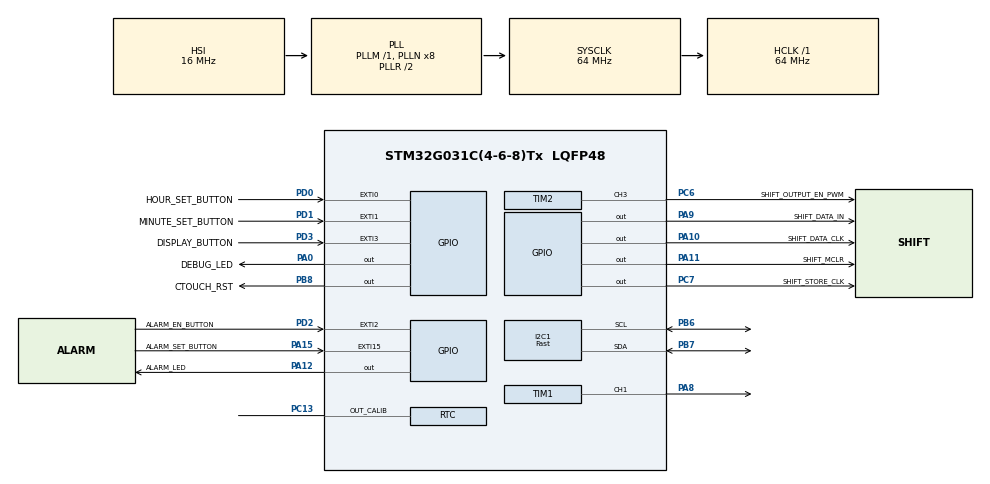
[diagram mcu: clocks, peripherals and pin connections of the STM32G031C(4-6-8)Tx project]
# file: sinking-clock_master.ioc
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I2C1.CustomTiming=Disabled
I2C1.I2C_Speed_Mode=I2C_Fast
I2C1.Timing=0x00602173
Mcu.Family=STM32G0
Mcu.Name=STM32G031C(4-6-8)Tx
Mcu.Package=LQFP48
NVIC.EXTI0_1_IRQn=true\:1\:0\:true\:false\:true\:true\:true\:true
NVIC.EXTI2_3_IRQn=true\:1\:0\:true\:false\:true\:true\:true\:true
NVIC.EXTI4_15_IRQn=true\:2\:0\:true\:false\:true\:true\:true\:true
NVIC.RCC_IRQn=true\:1\:0\:true\:false\:true\:true\:false\:true
NVIC.RTC_TAMP_IRQn=true\:1\:0\:true\:false\:true\:true\:true\:true
NVIC.TIM16_IRQn=true\:1\:0\:true\:false\:true\:true\:true\:true
NVIC.TIM17_IRQn=true\:0\:0\:false\:false\:true\:true\:true\:true
PA0.GPIO_Label=DEBUG_LED
PA0.Signal=GPIO_Output
PA10.GPIO_Label=SHIFT_DATA_CLK
PA10.Signal=GPIO_Output
PA11\ [PA9].GPIO_Label=SHIFT_MCLR
PA11\ [PA9].Signal=GPIO_Output
PA12\ [PA10].GPIO_Label=ALARM_LED
PA12\ [PA10].Signal=GPIO_Output
PA13.Mode=Serial_Wire
PA13.Signal=SYS_SWDIO
PA14-BOOT0.Mode=Serial_Wire
PA14-BOOT0.Signal=SYS_SWCLK
PA15.GPIO_Label=ALARM_SET_BUTTON
PA15.GPIO_ModeDefaultEXTI=GPIO_MODE_IT_FALLING
PA15.GPIO_PuPd=GPIO_PULLUP
PA15.Signal=GPXTI15
PA2.Mode=Clock-out-LSCO
PA2.Signal=RCC_LSCO
PA8.Signal=S_TIM1_CH1
PA9.GPIO_Label=SHIFT_DATA_IN
PA9.Signal=GPIO_Output
PB6.Mode=I2C
PB6.Signal=I2C1_SCL
PB7.Mode=I2C
PB7.Signal=I2C1_SDA
PB8.GPIO_Label=CTOUCH_RST
PB8.Signal=GPIO_Output
PC13.Mode=Calibration_512Hz
PC13.Signal=RTC_OUT_CALIB
PC14-OSC32_IN\ (PC14).Mode=LSE-External-Oscillator
PC14-OSC32_IN\ (PC14).Signal=RCC_OSC32_IN
PC15-OSC32_OUT\ (PC15).Mode=LSE-External-Oscillator
PC15-OSC32_OUT\ (PC15).Signal=RCC_OSC32_OUT
PC6.GPIO_Label=SHIFT_OUTPUT_EN_PWM
PC6.Signal=S_TIM2_CH3
PC7.GPIO_Label=SHIFT_STORE_CLK
PC7.Signal=GPIO_Output
PD0.GPIO_Label=HOUR_SET_BUTTON
PD0.GPIO_ModeDefaultEXTI=GPIO_MODE_IT_FALLING
PD0.GPIO_PuPd=GPIO_PULLUP
PD0.Signal=GPXTI0
PD1.GPIO_Label=MINUTE_SET_BUTTON
PD1.GPIO_ModeDefaultEXTI=GPIO_MODE_IT_FALLING
PD1.GPIO_PuPd=GPIO_PULLUP
PD1.Signal=GPXTI1
PD2.GPIO_Label=ALARM_EN_BUTTON
PD2.GPIO_ModeDefaultEXTI=GPIO_MODE_IT_FALLING
PD2.GPIO_PuPd=GPIO_PULLUP
PD2.Signal=GPXTI2
PD3.GPIO_Label=DISPLAY_BUTTON
PD3.GPIO_ModeDefaultEXTI=GPIO_MODE_IT_FALLING
PD3.GPIO_PuPd=GPIO_PULLUP
PD3.Signal=GPXTI3
ProjectManager.HeapSize=0x200
ProjectManager.StackSize=0x400
ProjectManager.TargetToolchain=STM32CubeIDE
RCC.ADCFreq_Value=64000000
RCC.AHBFreq_Value=64000000
RCC.CortexFreq_Value=64000000
RCC.EXTERNAL_CLOCK_VALUE=12288000
RCC.HCLKFreq_Value=64000000
RCC.HSE_VALUE=8000000
RCC.HSI_VALUE=16000000
RCC.LSE_Drive_Capability=RCC_LSEDRIVE_MEDIUMLOW
RCC.RTCClockSelection=RCC_RTCCLKSOURCE_LSE
RCC.SYSCLKFreq_VALUE=64000000
RCC.SYSCLKSource=RCC_SYSCLKSOURCE_PLLCLK
RCC.VCOOutputFreq_Value=128000000
RTC.Alarm-Alarm\ A=RTC_ALARM_A
RTC.AlarmMaskDateWeekDay-Alarm\ A=RTC_ALARMMASK_DATEWEEKDAY
RTC.AlarmMaskHours-Alarm\ A=RTC_ALARMMASK_HOURS
RTC.AlarmMaskSeconds-Alarm\ A=RTC_ALARMMASK_SECONDS
RTC.HourFormat=RTC_HOURFORMAT_12
RTC.Hours_A-Alarm\ A=1
RTC.Minutes_A-Alarm\ A=1
SH.S_TIM1_CH1.0=TIM1_CH1,PWM Generation1 CH1
SH.S_TIM2_CH3.0=TIM2_CH3,PWM Generation3 CH3
TIM1.Channel-PWM\ Generation1\ CH1=TIM_CHANNEL_1
TIM1.Period=100-1
TIM1.Prescaler=40000-1
TIM14.Prescaler=244*4
TIM16.Prescaler=(58595 / 10) - 1
TIM16.RepetitionCounter=0
TIM17.Period=100-1
TIM17.Prescaler=21
TIM2.Channel-PWM\ Generation3\ CH3=TIM_CHANNEL_3
TIM2.Period=100-1
TIM2.Prescaler=800-1
VP_RTC_VS_RTC_Activate.Mode=RTC_Enabled
VP_RTC_VS_RTC_Alarm_A_Intern.Mode=Alarm A
VP_RTC_VS_RTC_Calendar.Mode=RTC_Calendar
VP_TIM14_VS_ClockSourceINT.Mode=Enable_Timer
VP_TIM16_VS_ClockSourceINT.Mode=Enable_Timer
VP_TIM17_VS_ClockSourceINT.Mode=Enable_Timer
board=custom

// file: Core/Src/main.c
/* USER CODE BEGIN Header */
/**
  ******************************************************************************
  * @file           : main.c
  * @brief          : Main program body
  ******************************************************************************
  * @attention
  *
  * Copyright (c) 2024 STMicroelectronics.
  * All rights reserved.
  *
  * This software is licensed under terms that can be found in the LICENSE file
  * in the root directory of this software component.
  * If no LICENSE file comes with this software, it is provided AS-IS.
  *
  ******************************************************************************
  */
/* USER CODE END Header */
#include "main.h"

/* USER CODE BEGIN Includes */

#ifndef SEVSEG_SHIFT_H_
#include "sevSeg_shift.h"
#endif

#ifndef ALARM_H_
#include "alarm.h"
#endif

#ifndef SINKINGCLOCKVARS_H_
#include "sinkingClockVars.h"
#endif

#ifndef AT42QT1070_H_
#include "AT42QT1070.h"
#endif

/* USER CODE END Includes */

I2C_HandleTypeDef hi2c1;

RTC_HandleTypeDef hrtc;

TIM_HandleTypeDef htim1;
TIM_HandleTypeDef htim2;
TIM_HandleTypeDef htim14;
TIM_HandleTypeDef htim16;
TIM_HandleTypeDef htim17;

/* USER CODE BEGIN PV */

/*
 * Timer to be used for PWMing display
 */
TIM_HandleTypeDef *timerPWM = &htim2;

/*
 * Timer to be used for non-blocking delays
 */
TIM_HandleTypeDef *timerDelay = &htim14;

/*
 * Timer to be used for long 10-minute snooze
 */
TIM_HandleTypeDef *timerSnooze = &htim16;

/*
 * Timer to be used to software-PWM alarm LED
 */
TIM_HandleTypeDef *timerAlarmLED_PWM = &htim17;

/*
 * Timer to be used for Buzzer PWM
 */
TIM_HandleTypeDef *timerBuzzer = &htim1;

/*
 * Counts up to timerSnooze_RCR for long snooze delay
 */
uint8_t snoozeCounter = 0;

/*
 * Keeps track of alarm LED software PWM count
 * 0-100
 */
uint8_t alarmLED_PWM_Counter = 0;

/*
 * State bools
 */

// Used to blare alarm if enabled
bool alarmSetMode = false;

/*
 * Used to indicate whether the clock is in a
 * state to sound a snoozed alarm again after 10 minutes.
 * false = regular operation, true = 10-minute snooze period
 */
bool secondSnooze = false;

/*
 * Cap. touch struct
 */
QT1070 capTouch;

/*
 * For PWMing alarm Enable LED
 */
uint8_t threshold = sevSeg_intensityDuty[2];

/* USER CODE END PV */

void SystemClock_Config(void);
static void MX_GPIO_Init(void);
static void MX_RTC_Init(void);
static void MX_I2C1_Init(void);
static void MX_TIM14_Init(void);
static void MX_TIM2_Init(void);
static void MX_TIM16_Init(void);
static void MX_TIM1_Init(void);
static void MX_TIM17_Init(void);
/* USER CODE BEGIN PFP */

/*
 * Call to fetch the current time from the RTC and send to the LED display.
 *
 * @param none
 *
 * @ret HAL status object
 */
HAL_StatusTypeDef updateAndDisplayTime(void);

/*
 * Call to fetch the current alarm from the RTC and send to the LED display.
 *
 * @param none
 *
 * @ret HAL status object
 */
HAL_StatusTypeDef updateAndDisplayAlarm(void);

/*
 * Called on interrupt from display button to toggle 7-segment intensity.
 *
 * @param none
 *
 * @ret HAL status object
 */
HAL_StatusTypeDef displayButtonISR(void);

/*
 * Called on interrupt from alarm enable button to toggle user alarm.
 *
 * @param none
 *
 * @ret HAL status object
 */
HAL_StatusTypeDef alarmEnableISR(void);

/*
 * Called on interrupt from alarm set button to enter alarm set loop.
 *
 * @param none
 *
 * @ret HAL status object
 */
HAL_StatusTypeDef alarmSetISR(void);

/*
 * Called on interrupt from hour and minute set buttons.
 * Contain logic to set user alarm hour or minute.
 *
 * @param none
 *
 * @ret HAL status object
 */
HAL_StatusTypeDef hourSetISR(void);
HAL_StatusTypeDef minuteSetISR(void);

/*
 * Hour and minute incrementing functions for alarm time and current time
 *
 */

void alarmHourInc(void);
void currHourInc(void);
void alarmMinuteInc(void);
void currMinuteInc(void);

/*
 * Enters loop to signal user alarm
 */
void userAlarmBeep(void);

/*
 * Displays non-critical error on debug LED and continues functionality
 */
void dispFault();

/*
 * Displays Critical Error on clock and halts all functionality
 */
void dispFailure();

/*
 * Updates RTC Backup Registers with user alarm time
 */
void updateRTCBackupReg(void);

/* USER CODE END PFP */

int main(void)
{

  /* MCU Configuration--------------------------------------------------------*/

  /* Reset of all peripherals, Initializes the Flash interface and the Systick. */
  HAL_Init();

  /* Configure the system clock */
  SystemClock_Config();

  /* Initialize all configured peripherals */
  MX_GPIO_Init();
  MX_RTC_Init();
  MX_I2C1_Init();
  MX_TIM14_Init();
  MX_TIM2_Init();
  MX_TIM16_Init();
  MX_TIM1_Init();
  MX_TIM17_Init();
  /* USER CODE BEGIN 2 */

  // HAL Status handle for error-checking
  HAL_StatusTypeDef halRet = HAL_OK;

  // Start alarm LED software PWM
  HAL_TIM_Base_Start_IT(timerAlarmLED_PWM);

  // Set Smooth Calibration Value
  halRet = HAL_RTCEx_SetSmoothCalib(&hrtc, RTC_SMOOTHCALIB_PERIOD_8SEC,
    							RTC_SMOOTHCALIB_PLUSPULSES_RESET, rtcCalVal);
  if(halRet != HAL_OK) {
	  // Failure to talk to RTC is a hard failure
	  dispFailure();
  }

  // Init the internal RTC alarm time to track the current time
  halRet = initRTCInternalAlarm(&hrtc, &currTime, &currDate);
  if(halRet != HAL_OK) {
  	  // Failure to initialize RTC alarm is a hard failure
  	  dispFailure();
    }

  // Initialize all GPIOs to be used with 7 segment display
    sevSeg_Init(shiftDataPin, shiftDataClockPin, shiftStoreClockPin,
				shiftOutputEnablePin, shiftMCLRPin,
				GPIOPortArray, timerDelay, timerPWM, tim_PWM_CHANNEL);

    // Set to max brightness
    sevSeg_setIntensity(sevSeg_intensityDuty[2]);

	halRet = updateAndDisplayTime();
	if(halRet != HAL_OK) {
	  // Failure to display current time is a hard failure
	  dispFailure();
	}

    /*
     * Initialize capacitive touch sensor
     */

	// Used to separate return initializations into critical and non-critical errors.
	uint8_t initRet = 0;

    initRet = capTouch_Init(&capTouch, &hi2c1, timerDelay,
    						&capTouchResetPort, capTouchResetPin, capTouchChannels);
    if( (initRet == 1) || (initRet == 3) || (initRet == 4)) {

    	/* Critical Errors:
    	 * 1 = Failure to read correct device ID
    	 * 2 = Failure to read Keys
    	 * 3 = Failure to enable keys
    	 */
    	dispFailure();
    }
    else if (initRet == 2) {
    	/*
    	 * Non-critical Errors:
    	 * 2 = Failure to Recalibrate
    	 */
    	dispFault();
    }
    else if(initRet == 0) {
    	// initRet = 0 = all is well
    	__NOP();
    }

    // Set averaging factor
    uint8_t avgFactors_New[7] = {AVGFact, AVGFact, AVGFact, AVGFact, 0, 0, 0};
    halRet = capTouch_SetAveragingFactor(&capTouch, avgFactors_New);

    if(halRet != HAL_OK) {
    	// This is sensitivity-setting and a non-critical error
    	dispFault();
    }

    // Set detection integration factors
    uint8_t detIntFactors_New[7] = {DIFact, DIFact, DIFact, DIFact, DIFact, DIFact, DIFact};
    halRet = capTouch_SetDetectionIntegrator(&capTouch, detIntFactors_New);
    if(halRet != HAL_OK) {
    	// This is sensitivity-setting and a non-critical error
		dispFault();
    }

    userAlarmToggle = false;			//Default to off

    /*
     * If the bootstrap backup register reads 0x00 (never written to,)
     * initialize the alarm time to a default value.
     *
     * Else, initialize to whatever is stored in backup registers.
     */

    if((uint8_t)HAL_RTCEx_BKUPRead(&hrtc, bootstrapBackupReg) == 0) {

    	HAL_RTCEx_BKUPWrite(&hrtc, userAlarmHourBackupReg, 0x01);
    	HAL_RTCEx_BKUPWrite(&hrtc, userAlarmMinuteBackupReg, 0x00);
    	HAL_RTCEx_BKUPWrite(&hrtc, userAlarmTFBackupReg, RTC_HOURFORMAT12_AM);

    	// Write backup register with a non-zero value to signify that it has been initialized before
    	HAL_RTCEx_BKUPWrite(&hrtc, bootstrapBackupReg, 0xFFFFFFFF);

    }

	userAlarmTime.Hours = (uint8_t)HAL_RTCEx_BKUPRead(&hrtc, userAlarmHourBackupReg);
	userAlarmTime.Minutes = (uint8_t)HAL_RTCEx_BKUPRead(&hrtc, userAlarmMinuteBackupReg);
	userAlarmTime.TimeFormat = (uint8_t)HAL_RTCEx_BKUPRead(&hrtc, userAlarmTFBackupReg);

  /* USER CODE END 2 */

  /* Infinite loop */
  while (1)
  {
  }

}

void SystemClock_Config(void)
{
  RCC_OscInitTypeDef RCC_OscInitStruct = {0};
  RCC_ClkInitTypeDef RCC_ClkInitStruct = {0};

  /** Configure the main internal regulator output voltage
  */
  HAL_PWREx_ControlVoltageScaling(PWR_REGULATOR_VOLTAGE_SCALE1);

  /** Configure LSE Drive Capability
  */
  HAL_PWR_EnableBkUpAccess();
  __HAL_RCC_LSEDRIVE_CONFIG(RCC_LSEDRIVE_MEDIUMLOW);

  /** Initializes the RCC Oscillators according to the specified parameters
  * in the RCC_OscInitTypeDef structure.
  */
  RCC_OscInitStruct.OscillatorType = RCC_OSCILLATORTYPE_HSI|RCC_OSCILLATORTYPE_LSI
                              |RCC_OSCILLATORTYPE_LSE;
  RCC_OscInitStruct.LSEState = RCC_LSE_ON;
  RCC_OscInitStruct.HSIState = RCC_HSI_ON;
  RCC_OscInitStruct.HSIDiv = RCC_HSI_DIV1;
  RCC_OscInitStruct.HSICalibrationValue = RCC_HSICALIBRATION_DEFAULT;
  RCC_OscInitStruct.LSIState = RCC_LSI_ON;
  RCC_OscInitStruct.PLL.PLLState = RCC_PLL_ON;
  RCC_OscInitStruct.PLL.PLLSource = RCC_PLLSOURCE_HSI;
  RCC_OscInitStruct.PLL.PLLM = RCC_PLLM_DIV1;
  RCC_OscInitStruct.PLL.PLLN = 8;
  RCC_OscInitStruct.PLL.PLLP = RCC_PLLP_DIV2;
  RCC_OscInitStruct.PLL.PLLQ = RCC_PLLQ_DIV2;
  RCC_OscInitStruct.PLL.PLLR = RCC_PLLR_DIV2;
  if (HAL_RCC_OscConfig(&RCC_OscInitStruct) != HAL_OK)
  {
    Error_Handler();
  }

  /** Initializes the CPU, AHB and APB buses clocks
  */
  RCC_ClkInitStruct.ClockType = RCC_CLOCKTYPE_HCLK|RCC_CLOCKTYPE_SYSCLK
                              |RCC_CLOCKTYPE_PCLK1;
  RCC_ClkInitStruct.SYSCLKSource = RCC_SYSCLKSOURCE_PLLCLK;
  RCC_ClkInitStruct.AHBCLKDivider = RCC_SYSCLK_DIV1;
  RCC_ClkInitStruct.APB1CLKDivider = RCC_HCLK_DIV1;

  if (HAL_RCC_ClockConfig(&RCC_ClkInitStruct, FLASH_LATENCY_2) != HAL_OK)
  {
    Error_Handler();
  }
  HAL_RCCEx_EnableLSCO(RCC_LSCOSOURCE_LSI);
}

static void MX_I2C1_Init(void)
{

  hi2c1.Instance = I2C1;
  hi2c1.Init.Timing = 0x00602173;
  hi2c1.Init.OwnAddress1 = 0;
  hi2c1.Init.AddressingMode = I2C_ADDRESSINGMODE_7BIT;
  hi2c1.Init.DualAddressMode = I2C_DUALADDRESS_DISABLE;
  hi2c1.Init.OwnAddress2 = 0;
  hi2c1.Init.OwnAddress2Masks = I2C_OA2_NOMASK;
  hi2c1.Init.GeneralCallMode = I2C_GENERALCALL_DISABLE;
  hi2c1.Init.NoStretchMode = I2C_NOSTRETCH_DISABLE;
  if (HAL_I2C_Init(&hi2c1) != HAL_OK)
  {
    Error_Handler();
  }

  /** Configure Analogue filter
  */
  if (HAL_I2CEx_ConfigAnalogFilter(&hi2c1, I2C_ANALOGFILTER_ENABLE) != HAL_OK)
  {
    Error_Handler();
  }

  /** Configure Digital filter
  */
  if (HAL_I2CEx_ConfigDigitalFilter(&hi2c1, 0) != HAL_OK)
  {
    Error_Handler();
  }

}

static void MX_RTC_Init(void)
{

//  RTC_TimeTypeDef sTime = {0};
  RTC_DateTypeDef sDate = {0};
  RTC_AlarmTypeDef sAlarm = {0};

  /** Initialize RTC Only
  */
  hrtc.Instance = RTC;
  hrtc.Init.HourFormat = RTC_HOURFORMAT_12;
  hrtc.Init.AsynchPrediv = 127;
  hrtc.Init.SynchPrediv = 255;
  hrtc.Init.OutPut = RTC_OUTPUT_DISABLE;
  hrtc.Init.OutPutRemap = RTC_OUTPUT_REMAP_NONE;
  hrtc.Init.OutPutPolarity = RTC_OUTPUT_POLARITY_HIGH;
  hrtc.Init.OutPutType = RTC_OUTPUT_TYPE_OPENDRAIN;
  hrtc.Init.OutPutPullUp = RTC_OUTPUT_PULLUP_NONE;
  if (HAL_RTC_Init(&hrtc) != HAL_OK)
  {
    Error_Handler();
  }

  /** Initialize RTC and set the Time and Date
  */
//  sTime.Hours = 0x1;
//  sTime.Minutes = 0x0;
//  sTime.Seconds = 0x0;
//  sTime.SubSeconds = 0x0;
//  sTime.TimeFormat = RTC_HOURFORMAT12_AM;
//  sTime.DayLightSaving = RTC_DAYLIGHTSAVING_NONE;
//  sTime.StoreOperation = RTC_STOREOPERATION_RESET;
//  if (HAL_RTC_SetTime(&hrtc, &sTime, RTC_FORMAT_BCD) != HAL_OK)
//  {
//    Error_Handler();
//  }
  sDate.WeekDay = RTC_WEEKDAY_MONDAY;
  sDate.Month = RTC_MONTH_JANUARY;
  sDate.Date = 0x1;
  sDate.Year = 0x0;

  if (HAL_RTC_SetDate(&hrtc, &sDate, RTC_FORMAT_BCD) != HAL_OK)
  {
    Error_Handler();
  }

  /** Enable the Alarm A
  */
  sAlarm.AlarmTime.Hours = 0x1;
  sAlarm.AlarmTime.Minutes = 0x1;
  sAlarm.AlarmTime.Seconds = 0x0;
  sAlarm.AlarmTime.SubSeconds = 0x0;
  sAlarm.AlarmTime.TimeFormat = RTC_HOURFORMAT12_AM;
  sAlarm.AlarmTime.DayLightSaving = RTC_DAYLIGHTSAVING_NONE;
  sAlarm.AlarmTime.StoreOperation = RTC_STOREOPERATION_RESET;
  sAlarm.AlarmMask = RTC_ALARMMASK_DATEWEEKDAY|RTC_ALARMMASK_HOURS
                              |RTC_ALARMMASK_SECONDS;
  sAlarm.AlarmSubSecondMask = RTC_ALARMSUBSECONDMASK_ALL;
  sAlarm.AlarmDateWeekDaySel = RTC_ALARMDATEWEEKDAYSEL_DATE;
  sAlarm.AlarmDateWeekDay = 0x1;
  sAlarm.Alarm = RTC_ALARM_A;
  if (HAL_RTC_SetAlarm_IT(&hrtc, &sAlarm, RTC_FORMAT_BCD) != HAL_OK)
  {
    Error_Handler();
  }

  /** Enable Calibration
  */
  if (HAL_RTCEx_SetCalibrationOutPut(&hrtc, RTC_CALIBOUTPUT_512HZ) != HAL_OK)
  {
    Error_Handler();
  }
  /* USER CODE BEGIN RTC_Init 2 */

  // Do not initialize time - pull from whatever is in register
    HAL_RTC_GetTime(&hrtc, &currTime, RTCTimeFormat);

  /* USER CODE END RTC_Init 2 */

}

static void MX_TIM1_Init(void)
{

  TIM_MasterConfigTypeDef sMasterConfig = {0};
  TIM_OC_InitTypeDef sConfigOC = {0};
  TIM_BreakDeadTimeConfigTypeDef sBreakDeadTimeConfig = {0};

  htim1.Instance = TIM1;
  htim1.Init.Prescaler = 40000-1;
  htim1.Init.CounterMode = TIM_COUNTERMODE_UP;
  htim1.Init.Period = 100-1;
  htim1.Init.ClockDivision = TIM_CLOCKDIVISION_DIV1;
  htim1.Init.RepetitionCounter = 0;
  htim1.Init.AutoReloadPreload = TIM_AUTORELOAD_PRELOAD_DISABLE;
  if (HAL_TIM_PWM_Init(&htim1) != HAL_OK)
  {
    Error_Handler();
  }
  sMasterConfig.MasterOutputTrigger = TIM_TRGO_RESET;
  sMasterConfig.MasterOutputTrigger2 = TIM_TRGO2_RESET;
  sMasterConfig.MasterSlaveMode = TIM_MASTERSLAVEMODE_DISABLE;
  if (HAL_TIMEx_MasterConfigSynchronization(&htim1, &sMasterConfig) != HAL_OK)
  {
    Error_Handler();
  }
  sConfigOC.OCMode = TIM_OCMODE_PWM1;
  sConfigOC.Pulse = 0;
  sConfigOC.OCPolarity = TIM_OCPOLARITY_HIGH;
  sConfigOC.OCNPolarity = TIM_OCNPOLARITY_HIGH;
  sConfigOC.OCFastMode = TIM_OCFAST_DISABLE;
  sConfigOC.OCIdleState = TIM_OCIDLESTATE_RESET;
  sConfigOC.OCNIdleState = TIM_OCNIDLESTATE_RESET;
  if (HAL_TIM_PWM_ConfigChannel(&htim1, &sConfigOC, TIM_CHANNEL_1) != HAL_OK)
  {
    Error_Handler();
  }
  sBreakDeadTimeConfig.OffStateRunMode = TIM_OSSR_DISABLE;
  sBreakDeadTimeConfig.OffStateIDLEMode = TIM_OSSI_DISABLE;
  sBreakDeadTimeConfig.LockLevel = TIM_LOCKLEVEL_OFF;
  sBreakDeadTimeConfig.DeadTime = 0;
  sBreakDeadTimeConfig.BreakState = TIM_BREAK_DISABLE;
  sBreakDeadTimeConfig.BreakPolarity = TIM_BREAKPOLARITY_HIGH;
  sBreakDeadTimeConfig.BreakFilter = 0;
  sBreakDeadTimeConfig.BreakAFMode = TIM_BREAK_AFMODE_INPUT;
  sBreakDeadTimeConfig.Break2State = TIM_BREAK2_DISABLE;
  sBreakDeadTimeConfig.Break2Polarity = TIM_BREAK2POLARITY_HIGH;
  sBreakDeadTimeConfig.Break2Filter = 0;
  sBreakDeadTimeConfig.Break2AFMode = TIM_BREAK_AFMODE_INPUT;
  sBreakDeadTimeConfig.AutomaticOutput = TIM_AUTOMATICOUTPUT_DISABLE;
  if (HAL_TIMEx_ConfigBreakDeadTime(&htim1, &sBreakDeadTimeConfig) != HAL_OK)
  {
    Error_Handler();
  }
  HAL_TIM_MspPostInit(&htim1);

}

static void MX_TIM2_Init(void)
{

  TIM_MasterConfigTypeDef sMasterConfig = {0};
  TIM_OC_InitTypeDef sConfigOC = {0};

  htim2.Instance = TIM2;
  htim2.Init.Prescaler = 800-1;
  htim2.Init.CounterMode = TIM_COUNTERMODE_UP;
  htim2.Init.Period = 100-1;
  htim2.Init.ClockDivision = TIM_CLOCKDIVISION_DIV1;
  htim2.Init.AutoReloadPreload = TIM_AUTORELOAD_PRELOAD_DISABLE;
  if (HAL_TIM_PWM_Init(&htim2) != HAL_OK)
  {
    Error_Handler();
  }
  sMasterConfig.MasterOutputTrigger = TIM_TRGO_RESET;
  sMasterConfig.MasterSlaveMode = TIM_MASTERSLAVEMODE_DISABLE;
  if (HAL_TIMEx_MasterConfigSynchronization(&htim2, &sMasterConfig) != HAL_OK)
  {
    Error_Handler();
  }
  sConfigOC.OCMode = TIM_OCMODE_PWM1;
  sConfigOC.Pulse = 0;
  sConfigOC.OCPolarity = TIM_OCPOLARITY_HIGH;
  sConfigOC.OCFastMode = TIM_OCFAST_DISABLE;
  if (HAL_TIM_PWM_ConfigChannel(&htim2, &sConfigOC, TIM_CHANNEL_3) != HAL_OK)
  {
    Error_Handler();
  }
  HAL_TIM_MspPostInit(&htim2);

}

static void MX_TIM14_Init(void)
{

  htim14.Instance = TIM14;
  htim14.Init.Prescaler = 244*4;
  htim14.Init.CounterMode = TIM_COUNTERMODE_UP;
  htim14.Init.Period = 65535;
  htim14.Init.ClockDivision = TIM_CLOCKDIVISION_DIV1;
  htim14.Init.AutoReloadPreload = TIM_AUTORELOAD_PRELOAD_DISABLE;
  if (HAL_TIM_Base_Init(&htim14) != HAL_OK)
  {
    Error_Handler();
  }

}

static void MX_TIM16_Init(void)
{

  htim16.Instance = TIM16;
  htim16.Init.Prescaler = (58595 / 10) - 1;
  htim16.Init.CounterMode = TIM_COUNTERMODE_UP;
  htim16.Init.Period = 65535;
  htim16.Init.ClockDivision = TIM_CLOCKDIVISION_DIV1;
  htim16.Init.RepetitionCounter = 0;
  htim16.Init.AutoReloadPreload = TIM_AUTORELOAD_PRELOAD_DISABLE;
  if (HAL_TIM_Base_Init(&htim16) != HAL_OK)
  {
    Error_Handler();
  }
  /* USER CODE BEGIN TIM16_Init 2 */

  // Decrease interrupt priority
  HAL_NVIC_SetPriority(TIM16_IRQn, 1, 0);
  HAL_NVIC_EnableIRQ(TIM16_IRQn);

  // Clear SR interrupts
  __HAL_TIM_CLEAR_IT(timerSnooze, TIM_IT_UPDATE);
//
//  // Re-write RCR with 10
//	timerSnooze->Instance->RCR &= 0xFF00;
//	timerSnooze->Instance->RCR |= timerSnooze_RCR;

  /* USER CODE END TIM16_Init 2 */

}

static void MX_TIM17_Init(void)
{

  htim17.Instance = TIM17;
  htim17.Init.Prescaler = 21;
  htim17.Init.CounterMode = TIM_COUNTERMODE_UP;
  htim17.Init.Period = 100-1;
  htim17.Init.ClockDivision = TIM_CLOCKDIVISION_DIV1;
  htim17.Init.RepetitionCounter = 0;
  htim17.Init.AutoReloadPreload = TIM_AUTORELOAD_PRELOAD_DISABLE;
  if (HAL_TIM_Base_Init(&htim17) != HAL_OK)
  {
    Error_Handler();
  }

}

static void MX_GPIO_Init(void)
{
  GPIO_InitTypeDef GPIO_InitStruct = {0};

  /* GPIO Ports Clock Enable */
  __HAL_RCC_GPIOC_CLK_ENABLE();
  __HAL_RCC_GPIOA_CLK_ENABLE();
  __HAL_RCC_GPIOD_CLK_ENABLE();
  __HAL_RCC_GPIOB_CLK_ENABLE();

  /*Configure GPIO pin Output Level */
  HAL_GPIO_WritePin(GPIOA, DEBUG_LED_Pin|SHIFT_DATA_IN_Pin|SHIFT_DATA_CLK_Pin|SHIFT_MCLR_Pin
                          |ALARM_LED_Pin, GPIO_PIN_RESET);

  /*Configure GPIO pin Output Level */
  HAL_GPIO_WritePin(SHIFT_STORE_CLK_GPIO_Port, SHIFT_STORE_CLK_Pin, GPIO_PIN_RESET);

  /*Configure GPIO pin Output Level */
  HAL_GPIO_WritePin(CTOUCH_RST_GPIO_Port, CTOUCH_RST_Pin, GPIO_PIN_RESET);

  /*Configure GPIO pins : DEBUG_LED_Pin SHIFT_DATA_IN_Pin SHIFT_DATA_CLK_Pin SHIFT_MCLR_Pin
                           ALARM_LED_Pin */
  GPIO_InitStruct.Pin = DEBUG_LED_Pin|SHIFT_DATA_IN_Pin|SHIFT_DATA_CLK_Pin|SHIFT_MCLR_Pin
                          |ALARM_LED_Pin;
  GPIO_InitStruct.Mode = GPIO_MODE_OUTPUT_PP;
  GPIO_InitStruct.Pull = GPIO_NOPULL;
  GPIO_InitStruct.Speed = GPIO_SPEED_FREQ_LOW;
  HAL_GPIO_Init(GPIOA, &GPIO_InitStruct);

  /*Configure GPIO pin : PA2 */
  GPIO_InitStruct.Pin = GPIO_PIN_2;
  GPIO_InitStruct.Mode = GPIO_MODE_ANALOG;
  GPIO_InitStruct.Pull = GPIO_NOPULL;
  HAL_GPIO_Init(GPIOA, &GPIO_InitStruct);

  /*Configure GPIO pin : SHIFT_STORE_CLK_Pin */
  GPIO_InitStruct.Pin = SHIFT_STORE_CLK_Pin;
  GPIO_InitStruct.Mode = GPIO_MODE_OUTPUT_PP;
  GPIO_InitStruct.Pull = GPIO_NOPULL;
  GPIO_InitStruct.Speed = GPIO_SPEED_FREQ_LOW;
  HAL_GPIO_Init(SHIFT_STORE_CLK_GPIO_Port, &GPIO_InitStruct);

  /*Configure GPIO pin : ALARM_SET_BUTTON_Pin */
  GPIO_InitStruct.Pin = ALARM_SET_BUTTON_Pin;
  GPIO_InitStruct.Mode = GPIO_MODE_IT_FALLING;
  GPIO_InitStruct.Pull = GPIO_PULLUP;
  HAL_GPIO_Init(ALARM_SET_BUTTON_GPIO_Port, &GPIO_InitStruct);

  /*Configure GPIO pins : HOUR_SET_BUTTON_Pin MINUTE_SET_BUTTON_Pin ALARM_EN_BUTTON_Pin DISPLAY_BUTTON_Pin */
  GPIO_InitStruct.Pin = HOUR_SET_BUTTON_Pin|MINUTE_SET_BUTTON_Pin|ALARM_EN_BUTTON_Pin|DISPLAY_BUTTON_Pin;
  GPIO_InitStruct.Mode = GPIO_MODE_IT_FALLING;
  GPIO_InitStruct.Pull = GPIO_PULLUP;
  HAL_GPIO_Init(GPIOD, &GPIO_InitStruct);

  /*Configure GPIO pin : CTOUCH_RST_Pin */
  GPIO_InitStruct.Pin = CTOUCH_RST_Pin;
  GPIO_InitStruct.Mode = GPIO_MODE_OUTPUT_PP;
  GPIO_InitStruct.Pull = GPIO_NOPULL;
  GPIO_InitStruct.Speed = GPIO_SPEED_FREQ_LOW;
  HAL_GPIO_Init(CTOUCH_RST_GPIO_Port, &GPIO_InitStruct);

  /* EXTI interrupt init*/
  HAL_NVIC_SetPriority(EXTI0_1_IRQn, 1, 0);
  HAL_NVIC_EnableIRQ(EXTI0_1_IRQn);

  HAL_NVIC_SetPriority(EXTI2_3_IRQn, 1, 0);
  HAL_NVIC_EnableIRQ(EXTI2_3_IRQn);

  HAL_NVIC_SetPriority(EXTI4_15_IRQn, 2, 0);
  HAL_NVIC_EnableIRQ(EXTI4_15_IRQn);

}

/* USER CODE BEGIN 4 */

/*
 * Pulls updated time from RTC and send new time to user display
 */
HAL_StatusTypeDef updateAndDisplayTime(void) {

	HAL_StatusTypeDef halRet = HAL_OK;

	getRTCTime(&hrtc, &currTime, &currDate);
	sevSeg_updateDigits(&currTime);

	return halRet;

}

/*
 * Sends current user alarm time to user display
 * This doesn't pull from the RTC because the RTC alarm is not being used for that
 */

HAL_StatusTypeDef updateAndDisplayAlarm(void) {

	HAL_StatusTypeDef halRet = HAL_OK;

	sevSeg_updateDigits(&userAlarmTime);

	return halRet;

}

/*
 * Interrupt callback function for RTC interrupt kickback
 * Occurs every minute increment
 *
 * Pulls alarm time from RTC, increments and sets new alarm time, and updates time.
 * Sets off user alarm if the alarm is enabled.
 */
void HAL_RTC_AlarmAEventCallback(RTC_HandleTypeDef *hrtc) {

	  RTC_AlarmTypeDef sAlarm = {0};
	  HAL_RTC_GetAlarm(hrtc, &sAlarm, internalAlarm, RTCTimeFormat);

	  getRTCTime(hrtc, &currTime, &currDate);

	  if(currTime.Minutes > 58) {
		sAlarm.AlarmTime.Minutes = 0;
	  } else {
		sAlarm.AlarmTime.Minutes = currTime.Minutes + 1;
	  }
		while(HAL_RTC_SetAlarm_IT(hrtc, &sAlarm, FORMAT_BIN)!=HAL_OK){

			__NOP();

		}

	  updateAndDisplayTime();

	  // If alarm is enabled and current time matches user alarm time, set off the alarm.
	  if(userAlarmToggle && userAlarmTime.Hours == currTime.Hours
			  && userAlarmTime.Minutes == currTime.Minutes && userAlarmTime.TimeFormat == currTime.TimeFormat) {
		  userAlarmBeep();
	  }

}

/*
 * If user alarm is enabled and the RTC time equals the user alarm time, this function is entered.
 *
 * This function blinks the display LEDs and toggles the beeper until the user
 * disables this beeping through cap. touch or the alarm enable button.
 *
 * Functionality depends on whether or not this is the first or second snooze.
 * 		First Snooze: 10-minute timer is started and alarm
 * 		              is beeped again at the end of this 10 minutes.
 * 		Second Snooze: No timer is started and silencing the alarm silences it for good.
 */
void userAlarmBeep() {

	if (secondSnooze) { 		//If the user has already snoozed once,

			// Stop the timer and
			HAL_TIM_Base_Stop_IT(timerSnooze);

			// Reset count to 0
			// only bits 0 - 15 should be changed.
			timerSnooze->Instance->CNT &= 0xFFFF0000;

			// Reset interrupt status register
			timerSnooze->Instance->SR &= 0xFFFC;

//			// Re-write RCR with 10
//			timerSnooze->Instance->RCR &= 0xFF00;
//			timerSnooze->Instance->RCR |= timerSnooze_RCR;

		}

	HAL_TIM_Base_Stop(timerDelay);
	HAL_TIM_Base_Start(timerDelay);						// Begin timer 16 counting (to 500 ms)
	uint32_t timerVal = __HAL_TIM_GET_COUNTER(timerDelay);	// Get initial timer value to compare to
	bool displayBlink = false;

	/*
	 * Determine whether to toggle high or low brightness
	 */
	uint8_t intenSet;
	if(displayToggle == 0) { 				// If the user has full brightness enabled, toggle full brightness
		intenSet = 2;
	}
	else {									// Else, toggle low brightness
		intenSet = 1;
	}

	do {						// Beep buzzer and blink display until snooze button is pressed

		updateAndDisplayTime();				// Update to current time and display

		if(__HAL_TIM_GET_COUNTER(timerDelay) - timerVal >= (65535 / 2)) {		// Use hardware timer to blink/beep display

			sevSeg_setIntensity(sevSeg_intensityDuty[displayBlink * intenSet]);	// Toggle on/off

			if(!displayBlink) {
				__HAL_TIM_SET_COMPARE(timerBuzzer, tim_BUZZER_CHANNEL, 50);
				HAL_TIM_PWM_Start(timerBuzzer, tim_BUZZER_CHANNEL);
			}
			else {
				HAL_TIM_PWM_Stop(timerBuzzer, tim_BUZZER_CHANNEL);
			}

			timerVal = __HAL_TIM_GET_COUNTER(timerDelay);				// Update timer value

			displayBlink = !displayBlink;							// Toggle display blink counter

		}

		capTouch_readChannels(&capTouch);

	} while(capTouch.keyStat == 0x00 &&
			(HAL_GPIO_ReadPin(alarmEnableButtonPort, alarmEnableButtonPin) != GPIO_PIN_RESET));

	/*
	 * Stop blinking, turn off buzzer, set 50% duty cycle, update time
	 */
	HAL_TIM_Base_Stop(timerDelay);

	HAL_TIM_PWM_Stop(timerBuzzer, tim_BUZZER_CHANNEL);

	updateAndDisplayTime();				// Update to current time and display

	sevSeg_setIntensity(sevSeg_intensityDuty[intenSet]);	// Turn display back on
	if(intenSet == 2) {
		displayToggle = 0;
	}
	else {
		displayToggle = 2;
	}

	// If this is the first snooze,
	if(!secondSnooze) {

		HAL_TIM_PWM_Stop(timerBuzzer, tim_BUZZER_CHANNEL);

		// Start the snooze timer to trigger an interrupt after 10 minutes
		HAL_TIM_Base_Start_IT(timerSnooze);

		// Set flag
		secondSnooze = true;

	} else {

		snoozeCounter = 0;

		// Reset flag
		/*
		 * This must be done here because if it's done
		 * in the top conditional, the secondSnooze is always true;
		 */
		secondSnooze = false;

	}

}

/*
 * General Falling-Edge EXTI Callback function
 *
 * Internal conditional determines which function to call
 * based on which button was pressed.
 */
void HAL_GPIO_EXTI_Falling_Callback(uint16_t GPIO_Pin) {

	HAL_StatusTypeDef halRet;					// Flag for printing interrupt status

	if(GPIO_Pin == displayButtonPin) {
		halRet = displayButtonISR();
		if (halRet != HAL_OK) {
			//printf("Error toggling display.\n\r");
		} else {
			//printf("Display intensity toggled.\n\r");
		}
	}
	else if(GPIO_Pin == alarmEnableButtonPin) {
		halRet = alarmEnableISR();
		if (halRet != HAL_OK) {
			//printf("Error toggling user alarm.\n\r");
		} else {
			//printf("User alarm toggled.\n\r");
		}
	}
	else if(GPIO_Pin == alarmSetButtonPin) {
		halRet = alarmSetISR();
		if (halRet != HAL_OK) {
			//printf("Error setting user alarm.\n\r");
		} else {
			//printf("User alarm set.\n\r");
		}
	}
	else if(GPIO_Pin == hourSetButtonPin) {
		halRet = hourSetISR();
		if (halRet != HAL_OK) {
			//printf("Error incrementing hour.\n\r");
		} else {
			//printf("Hour increment ISR success.\n\r");
		}
	}
	else if(GPIO_Pin == minuteSetButtonPin) {
		halRet = minuteSetISR();
		if (halRet != HAL_OK) {
			//printf("Error incrementing minute.\n\r");
		} else {
			//printf("Minute increment ISR success.\n\r");
		}
	}
	else {			//Code should never reach here, but do nothing if it does.
		__NOP();
	}

}

/*
 * Used for second snooze functionality
 *
 * This is entered at the end of a 10-minute snooze, at
 * which point the timer kicks back an interrupt.
 */
void HAL_TIM_PeriodElapsedCallback(TIM_HandleTypeDef *htim) {

	if(htim == timerSnooze) {

		snoozeCounter++;

		if((secondSnooze == true) && (snoozeCounter == timerSnooze_RCR)) {
			userAlarmBeep();
		}

	}
	else if(htim == timerAlarmLED_PWM) {

		alarmLED_PWM_Counter++;
		if(alarmLED_PWM_Counter == 100)
		{
			alarmLED_PWM_Counter = 0;
		}

		if(!userAlarmToggle) {	// If user alarm not enabled, turn off LED
			HAL_GPIO_WritePin(alarmLEDPort, alarmLEDPin, GPIO_PIN_RESET);
		}
		else {					// If the user alarm is enabled, PWM it

			if(alarmLED_PWM_Counter >= threshold) {
				HAL_GPIO_WritePin(alarmLEDPort, alarmLEDPin, GPIO_PIN_SET);
			}
			else {
				HAL_GPIO_WritePin(alarmLEDPort, alarmLEDPin, GPIO_PIN_RESET);
			}

		}

	}

}

/*
 * Toggles through user time display brightness settings
 */
HAL_StatusTypeDef displayButtonISR(void) {

	//printf("Entered display toggle ISR\n\r");
	HAL_StatusTypeDef halRet = HAL_OK;

	updateAndDisplayTime();

	sevSeg_setIntensity(sevSeg_intensityDuty[displayToggle]);		//Turn display to proper duty cycle

	if(displayToggle >= 2) {			// Increment display toggle or reset back down to 0;
		displayToggle = 0;
	} else {
		displayToggle++;
	}

	// For alarm enable LED
	switch(displayToggle) {

		case 0:			// Full brightness
			threshold = sevSeg_intensityDuty[2];
		break;
		case 1:			// No Brightness. But keep it low brightness.
			threshold = sevSeg_intensityDuty[1];
		break;
		case 2:			// low Brightness
			threshold = sevSeg_intensityDuty[1];
		break;

		default:
			__NOP();
		break;

	}

	return halRet;				// Return HAL status

}

/*
 * Toggles user alarm enable bool and alarm enable LED.
 */
HAL_StatusTypeDef alarmEnableISR(void) {

	//printf("Entered alarm toggle ISR\n\r");
	HAL_StatusTypeDef halRet = HAL_OK;

	userAlarmToggle = !userAlarmToggle;

	/*
	 * Reset snooze time
	 */
	secondSnooze = false;
	snoozeCounter = 0;

	HAL_TIM_Base_Stop_IT(timerSnooze);					// Stop snooze timer in case it is going
	timerSnooze->Instance->CNT &= 0xFFFF0000;
	timerSnooze->Instance->SR &= 0xFFFC;

	return halRet;

}

/*
 * Delays for 3 seconds, checks if alarm set button is still pressed.
 * If it is, allow user to set the new alarm time
 * and blink display to indicate this
 *
 */
HAL_StatusTypeDef alarmSetISR(void) {

	HAL_StatusTypeDef halRet = HAL_OK;

	/*
	 * Wait for 3 seconds to see if alarm set button is still pressed
	 */

	// Delay for 3 * 1s intervals
	for(uint8_t i = 0; i < 3; i++) {

		HAL_TIM_Base_Stop(timerDelay);
		timerDelay->Instance->CNT = 0;						// Reset timer base
		HAL_TIM_Base_Start(timerDelay);						// Begin timer 16 counting (to 1 s)
	//	timerVal = __HAL_TIM_GET_COUNTER(timerDelay);	// Get initial timer value to compare to

		do {

		} while(__HAL_TIM_GET_COUNTER(timerDelay) < (65535));
	}

	// If button is still pressed, we are in alarm set mode.
	if(HAL_GPIO_ReadPin(alarmSetButtonPort, alarmSetButtonPin) == GPIO_PIN_RESET) {
		alarmSetMode = true;
	}

	/*
	 * Then, if we are in alarm set mode, go through the
	 * alarm set process until the button is pressed again
	 */

	// Reset Timer
	HAL_TIM_Base_Stop(timerDelay);
	timerDelay->Instance->CNT = 0;
	HAL_TIM_Base_Start(timerDelay);
	uint16_t timerVal = __HAL_TIM_GET_COUNTER(timerDelay);	// Get initial timer value to compare to

	bool alarmSetButtonReset = false;

	if(alarmSetMode) {

		// If we were in second snooze mode, kill it.
		secondSnooze = false;
		snoozeCounter = 0;

		// Stop snooze timer in case it is going
		HAL_TIM_Base_Stop_IT(timerSnooze);
		timerSnooze->Instance->CNT &= 0xFFFF0000;
		timerSnooze->Instance->SR &= 0xFFFC;

		bool displayBlink = false;

		/*
		 * Determine whether to toggle high or low brightness
		 */
		uint8_t intenSet;
		if(displayToggle == 0) { 				// If the user has full brightness enabled, toggle full btightness
			intenSet = 2;
		}
		else {									// Else, toggle low brightness
			intenSet = 1;
		}

		do {											// while the alarm set button is not held down, blink display.

			// Check to make sure the user has released the set button from the initial hold
			if(HAL_GPIO_ReadPin(alarmSetButtonPort, alarmSetButtonPin) == GPIO_PIN_SET) {
				alarmSetButtonReset = true;
			}

			updateAndDisplayAlarm();

			if(__HAL_TIM_GET_COUNTER(timerDelay) - timerVal >= (65536 / 2)) {

				sevSeg_setIntensity(sevSeg_intensityDuty[displayBlink * intenSet]);		// Initialize to whatever duty cycle

				timerVal = __HAL_TIM_GET_COUNTER(timerDelay);
				displayBlink = !displayBlink;

			}

		}while((HAL_GPIO_ReadPin(alarmSetButtonPort, alarmSetButtonPin) != GPIO_PIN_RESET)
				|| !alarmSetButtonReset);

		sevSeg_setIntensity(sevSeg_intensityDuty[intenSet]);			// Turn display back on
		if(intenSet == 2) {
			displayToggle = 0;
		}
		else {
			displayToggle = 2;
		}

		HAL_TIM_Base_Stop(timerDelay);

		updateAndDisplayTime();

	}

	alarmSetMode = false;		// We have exited alarm set mode

	//printf("Current time back to %u:%u:%u.\n\r", currTime.Hours, currTime.Minutes, currTime.Seconds);

	return halRet;

}

/*
 * Increment either user alarm hour value or RTC hour value
 */
HAL_StatusTypeDef hourSetISR(void) {

	HAL_StatusTypeDef halRet = HAL_OK;

	if(alarmSetMode) {	// If the clock is in alarm set mode, change user alarm time hour

		alarmHourInc();

	}
	else {									// Otherwise, change current time hour.

		currHourInc();

		HAL_RTC_SetTime(&hrtc, &currTime, RTCTimeFormat);

		updateAndDisplayTime();

		getRTCTime(&hrtc, &currTime, &currDate);

		//printf("Current time hour incremented to %u:%u:%u.\n\r", currTime.Hours,
				//currTime.Minutes, currTime.Seconds);
	}

	return halRet;

}

/*
 * Increment either user alarm minute value or RTC minute value
 */
HAL_StatusTypeDef minuteSetISR(void) {

	HAL_StatusTypeDef halRet = HAL_OK;

	if(alarmSetMode) {	// If the clock is in alarm set mode, change user alarm time hour

		alarmMinuteInc();

	}
	else {									// Otherwise, change current time hour.

		currMinuteInc();

		HAL_RTC_SetTime(&hrtc, &currTime, RTCTimeFormat);

		/*
		 * Change internal RTC alarm to keep it triggering
		 */

		RTC_AlarmTypeDef sAlarm = {0};
		HAL_RTC_GetAlarm(&hrtc, &sAlarm, internalAlarm, RTCTimeFormat);

		getRTCTime(&hrtc, &currTime, &currDate);

		if(currTime.Minutes > 58) {
			sAlarm.AlarmTime.Minutes = 0;
		} else {
			sAlarm.AlarmTime.Minutes = currTime.Minutes + 1;
		}
		while(HAL_RTC_SetAlarm_IT(&hrtc, &sAlarm, FORMAT_BIN)!=HAL_OK){}

		updateAndDisplayTime();

		getRTCTime(&hrtc, &currTime, &currDate);

		//printf("Current time minute incremented to %u:%u:%u.\n\r", currTime.Hours,
				//currTime.Minutes, currTime.Seconds);
	}

	return halRet;
}

/*
 * Increment user alarm time hour
 */
void alarmHourInc(void) {

	if(userAlarmTime.Hours >= 12) {
		userAlarmTime.Hours = 1;
	}
	else if(userAlarmTime.Hours == 11) {
		if(userAlarmTime.TimeFormat == RTC_HOURFORMAT12_AM) {
			userAlarmTime.TimeFormat = RTC_HOURFORMAT12_PM;
		}
		else {
			userAlarmTime.TimeFormat = RTC_HOURFORMAT12_AM;
		}
		userAlarmTime.Hours = 12;
	}
	else if(userAlarmTime.Hours < 11) {
		userAlarmTime.Hours = userAlarmTime.Hours + 1;
	}
	else {
		__NOP();
	}

	// Update RTC backup registers with new user alarm time
	updateRTCBackupReg();

}

/*
 * Increment current time hour
 */
void currHourInc(void) {

	getRTCTime(&hrtc, &currTime, &currDate);

	if(currTime.Hours >= 12) {
		currTime.Hours = 1;
	}
	else if(currTime.Hours == 11) {
		if(currTime.TimeFormat == RTC_HOURFORMAT12_AM) {
			currTime.TimeFormat = RTC_HOURFORMAT12_PM;
		}
		else {
			currTime.TimeFormat = RTC_HOURFORMAT12_AM;
		}
		currTime.Hours = 12;
	}
	else if(userAlarmTime.Hours < 11) {
		currTime.Hours = currTime.Hours + 1;
	}
	else {
		__NOP();
	}

	// Reset seconds
	currTime.Seconds = 0;
	currTime.SecondFraction = 0;

}

/*
 * Increment User alarm time minute
 */
void alarmMinuteInc(void) {

	if(userAlarmTime.Minutes >= 59) {
		/*
		 * The below function call is the old version in which
		 * the hour will increment when the minutes roll over.
		 */
		//alarmHourInc();
		userAlarmTime.Minutes = 0;
	}
	else if(userAlarmTime.Minutes < 59) {
		userAlarmTime.Minutes = userAlarmTime.Minutes + 1;
	}
	else {
		__NOP();
	}

	// Update RTC backup registers with new user alarm time
	updateRTCBackupReg();

}

/*
 * Increment current time minute
 */
void currMinuteInc(void) {

	getRTCTime(&hrtc, &currTime, &currDate);

	if(currTime.Minutes >= 59) {

		/*
		 * The below function call is the old version in which
		 * the hour will increment when the minutes roll over.
		 */
		// currHourInc();

		currTime.Minutes = 0;
	}
	else if(currTime.Minutes < 59) {
		currTime.Minutes = currTime.Minutes + 1;
	}
	else {
		__NOP();
	}

	// Reset seconds
	currTime.Seconds = 0;
	currTime.SecondFraction = 0;

}

/*
 * Displays a non-critical fault to indicate reduced functionality
 */
void dispFault(void) {
	HAL_GPIO_WritePin(debugLEDPort, debugLEDPin, GPIO_PIN_SET);
}

/*
 * Displays a critical failure and ceases all operations
 */
void dispFailure(void) {

	HAL_TIM_Base_Stop(timerDelay);
	HAL_TIM_Base_Start(timerDelay);						// Begin timer 16 counting (to 500 ms)
	uint32_t timerVal = __HAL_TIM_GET_COUNTER(timerDelay);	// Get initial timer value to compare to
	bool displayBlink = false;

	do {

		if(__HAL_TIM_GET_COUNTER(timerDelay) - timerVal >= (65535 / 4)) {		// Use hardware timer to blink/beep display

			HAL_GPIO_TogglePin(alarmLEDPort, alarmLEDPin);

			timerVal = __HAL_TIM_GET_COUNTER(timerDelay);				// Update timer value

			displayBlink = !displayBlink;							// Toggle display blink counter

		}

	} while(1);

}

/*
 * Updates RTC backup register with user alarm time to be later pulled from in the case of a power outage
 */
void updateRTCBackupReg(void) {

	HAL_RTCEx_BKUPWrite(&hrtc, userAlarmHourBackupReg, userAlarmTime.Hours);
	HAL_RTCEx_BKUPWrite(&hrtc, userAlarmMinuteBackupReg, userAlarmTime.Minutes);
	HAL_RTCEx_BKUPWrite(&hrtc, userAlarmTFBackupReg, userAlarmTime.TimeFormat);

}

/* USER CODE END 4 */

void Error_Handler(void)
{
  __disable_irq();
  while (1)
  {
  }
}
